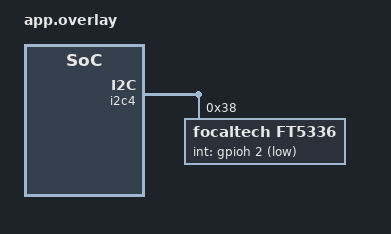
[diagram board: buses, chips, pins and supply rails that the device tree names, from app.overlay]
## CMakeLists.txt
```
# SPDX-License-Identifier: Apache-2.0

cmake_minimum_required(VERSION 3.20.0)

find_package(Zephyr REQUIRED HINTS $ENV{ZEPHYR_BASE})
project(stm32h7b3-display-demo)

target_sources(app PRIVATE src/main.c)
```

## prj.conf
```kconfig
# Display configuration
CONFIG_DISPLAY=y
CONFIG_STM32_LTDC=y
CONFIG_STM32_LTDC_RGB565=y

# Console
CONFIG_CONSOLE=y
CONFIG_UART_CONSOLE=y
CONFIG_SERIAL=y

# GPIO for LEDs and touch
CONFIG_GPIO=y

# LVGL runs SYS_INIT before main() on this stack; default 1024 B overflows (MPU fault).
CONFIG_MAIN_STACK_SIZE=8192

# Logging
CONFIG_PRINTK=y
CONFIG_LOG=y
CONFIG_LOG_DEFAULT_LEVEL=2

# System heap (k_malloc). LTDC framebuffer and LVGL VDB are static — do not
# size this like the framebuffer; a 1 MiB heap overflows AXI SRAM with LVGL.
CONFIG_HEAP_MEM_POOL_SIZE=262144

# Framebuffer in internal SRAM
CONFIG_STM32_LTDC_FB_NUM=1
# CONFIG_STM32_LTDC_FB_USE_SHARED_MULTI_HEAP is not set

# LVGL configuration (v9.5.0)
CONFIG_LVGL=y
CONFIG_LV_CONF_SKIP=y
CONFIG_LV_COLOR_DEPTH_16=y
# Zephyr uses lvgl_malloc() + dedicated sys_heap; pool size is LV_Z_MEM_POOL_SIZE, not LV_MEM_SIZE_*.
CONFIG_LV_Z_MEM_POOL_SIZE=65536

# LVGL logging
CONFIG_LV_USE_LOG=y
CONFIG_LV_LOG_LEVEL_WARN=y

# LVGL display buffer (display comes from devicetree chosen zephyr,display)
CONFIG_LV_Z_VDB_SIZE=64

# stm32h7b3i_dk defaults put LVGL VDB in SDRAM2 with double buffering + full refresh
# (see boards/st/stm32h7b3i_dk/Kconfig.defconfig). app.overlay disables FMC, so SDRAM
# is unusable — keep VDB in main RAM and drop the SDRAM-oriented buffer defaults.
CONFIG_LV_Z_VDB_ZEPHYR_REGION=n
CONFIG_LV_Z_DOUBLE_VDB=n
CONFIG_LV_Z_FULL_REFRESH=n

# Input/Touch
CONFIG_INPUT=y
CONFIG_INPUT_FT5336=y

# I2C for touch controller
CONFIG_I2C=y

# LVGL pointer input (connects Zephyr input subsystem to LVGL for touch)
CONFIG_LV_Z_POINTER_INPUT=y
```

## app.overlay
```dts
/* Override sram0 to 1MB to fit framebuffer (RGB565 = 255KB) */
&sram0 {
    reg = <0x24000000 0x100000>;
};

&ltdc {
    /delete-property/ ext-sdram;
};

&fmc {
    status = "disabled";
};

/* Enable I2C4 for touch controller - use board defaults (PD12/PD13) */
&i2c4 {
    status = "okay";

    /* FT5336 touch controller - use board's default INT pin (GPIOH 2) */
    ft5336@38 {
        compatible = "focaltech,ft5336";
        reg = <0x38>;
        int-gpios = <&gpioh 2 GPIO_ACTIVE_LOW>;
        status = "okay";
    };
};
```

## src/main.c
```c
#include <zephyr/kernel.h>
#include <zephyr/device.h>
#include <zephyr/devicetree.h>
#include <zephyr/drivers/display.h>
#include <zephyr/drivers/gpio.h>
#include <zephyr/input/input.h>
#include <lvgl.h>

static const struct gpio_dt_spec led = GPIO_DT_SPEC_GET(DT_ALIAS(led0), gpios);
static lv_obj_t *counter_label;
static int32_t counter = 0;

static void button_event_cb(lv_event_t *e)
{
    counter++;
    lv_label_set_text_fmt(counter_label, "Count: %d", counter);
}

static void slider_event_cb(lv_event_t *e)
{
    lv_obj_t *slider = lv_event_get_target(e);
    int32_t value = lv_slider_get_value(slider);
    lv_label_set_text_fmt(counter_label, "Slider: %d", value);
}

void main(void)
{
    printk("STM32H7B3I LVGL demo with touch\n");

    if (!gpio_is_ready_dt(&led)) {
        printk("LED not ready\n");
        return;
    }
    gpio_pin_configure_dt(&led, GPIO_OUTPUT_ACTIVE);

    const struct device *display = DEVICE_DT_GET(DT_CHOSEN(zephyr_display));
    if (!device_is_ready(display)) {
        printk("Display not ready\n");
        return;
    }

    /* Zephyr LVGL calls lv_init() in SYS_INIT; calling it again corrupts screens. */
    display_blanking_off(display);

    lv_obj_t *scr = lv_scr_act();
    if (scr == NULL) {
        printk("LVGL: no active screen\n");
        return;
    }

    lv_obj_t *btn = lv_btn_create(scr);
    lv_obj_set_pos(btn, 160, 100);
    lv_obj_set_size(btn, 160, 50);
    lv_obj_add_event_cb(btn, button_event_cb, LV_EVENT_CLICKED, NULL);

    lv_obj_t *btn_label = lv_label_create(btn);
    lv_label_set_text(btn_label, "Click Me");
    lv_obj_center(btn_label);

    lv_obj_t *slider = lv_slider_create(scr);
    lv_obj_set_pos(slider, 100, 180);
    lv_obj_set_size(slider, 280, 20);
    lv_obj_add_event_cb(slider, slider_event_cb, LV_EVENT_VALUE_CHANGED, NULL);

    counter_label = lv_label_create(scr);
    lv_label_set_text(counter_label, "Count: 0");
    lv_obj_set_pos(counter_label, 160, 40);

    lv_task_handler();

    while (1) {
        lv_task_handler();
        gpio_pin_toggle_dt(&led);
        k_msleep(10);
    }
}
```
